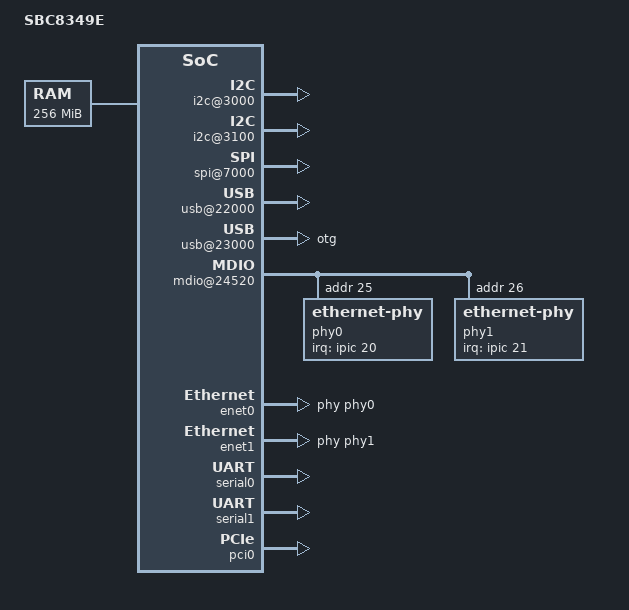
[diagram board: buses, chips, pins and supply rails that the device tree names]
/*
 * SBC8349E Device Tree Source
 *
 * Copyright 2007 Wind River Inc.
 *
 * Paul Gortmaker (see MAINTAINERS for contact information)
 *
 *	-based largely on the Freescale MPC834x_MDS dts.
 *
 * This program is free software; you can redistribute  it and/or modify it
 * under  the terms of  the GNU General  Public License as published by the
 * Free Software Foundation;  either version 2 of the  License, or (at your
 * option) any later version.
 */

/dts-v1/;

/ {
	model = "SBC8349E";
	compatible = "SBC834xE";
	#address-cells = <1>;
	#size-cells = <1>;

	aliases {
		ethernet0 = &enet0;
		ethernet1 = &enet1;
		serial0 = &serial0;
		serial1 = &serial1;
		pci0 = &pci0;
	};

	cpus {
		#address-cells = <1>;
		#size-cells = <0>;

		PowerPC,8349@0 {
			device_type = "cpu";
			reg = <0x0>;
			d-cache-line-size = <32>;
			i-cache-line-size = <32>;
			d-cache-size = <32768>;
			i-cache-size = <32768>;
			timebase-frequency = <0>;	// from bootloader
			bus-frequency = <0>;		// from bootloader
			clock-frequency = <0>;		// from bootloader
		};
	};

	memory {
		device_type = "memory";
		reg = <0x00000000 0x10000000>;	// 256MB at 0
	};

	soc8349@e0000000 {
		#address-cells = <1>;
		#size-cells = <1>;
		device_type = "soc";
		ranges = <0x0 0xe0000000 0x00100000>;
		reg = <0xe0000000 0x00000200>;
		bus-frequency = <0>;

		wdt@200 {
			compatible = "mpc83xx_wdt";
			reg = <0x200 0x100>;
		};

		i2c@3000 {
			#address-cells = <1>;
			#size-cells = <0>;
			cell-index = <0>;
			compatible = "fsl-i2c";
			reg = <0x3000 0x100>;
			interrupts = <14 0x8>;
			interrupt-parent = <&ipic>;
			dfsrr;
		};

		i2c@3100 {
			#address-cells = <1>;
			#size-cells = <0>;
			cell-index = <1>;
			compatible = "fsl-i2c";
			reg = <0x3100 0x100>;
			interrupts = <15 0x8>;
			interrupt-parent = <&ipic>;
			dfsrr;
		};

		spi@7000 {
			cell-index = <0>;
			compatible = "fsl,spi";
			reg = <0x7000 0x1000>;
			interrupts = <16 0x8>;
			interrupt-parent = <&ipic>;
			mode = "cpu";
		};

		/* phy type (ULPI or SERIAL) are only types supported for MPH */
		/* port = 0 or 1 */
		usb@22000 {
			compatible = "fsl-usb2-mph";
			reg = <0x22000 0x1000>;
			#address-cells = <1>;
			#size-cells = <0>;
			interrupt-parent = <&ipic>;
			interrupts = <39 0x8>;
			phy_type = "ulpi";
			port1;
		};
		/* phy type (ULPI, UTMI, UTMI_WIDE, SERIAL) */
		usb@23000 {
			device_type = "usb";
			compatible = "fsl-usb2-dr";
			reg = <0x23000 0x1000>;
			#address-cells = <1>;
			#size-cells = <0>;
			interrupt-parent = <&ipic>;
			interrupts = <38 0x8>;
			dr_mode = "otg";
			phy_type = "ulpi";
		};

		mdio@24520 {
			#address-cells = <1>;
			#size-cells = <0>;
			compatible = "fsl,gianfar-mdio";
			reg = <0x24520 0x20>;

			phy0: ethernet-phy@19 {
				interrupt-parent = <&ipic>;
				interrupts = <20 0x8>;
				reg = <0x19>;
				device_type = "ethernet-phy";
			};
			phy1: ethernet-phy@1a {
				interrupt-parent = <&ipic>;
				interrupts = <21 0x8>;
				reg = <0x1a>;
				device_type = "ethernet-phy";
			};
		};

		enet0: ethernet@24000 {
			cell-index = <0>;
			device_type = "network";
			model = "TSEC";
			compatible = "gianfar";
			reg = <0x24000 0x1000>;
			local-mac-address = [ 00 00 00 00 00 00 ];
			interrupts = <32 0x8 33 0x8 34 0x8>;
			interrupt-parent = <&ipic>;
			phy-handle = <&phy0>;
			linux,network-index = <0>;
		};

		enet1: ethernet@25000 {
			cell-index = <1>;
			device_type = "network";
			model = "TSEC";
			compatible = "gianfar";
			reg = <0x25000 0x1000>;
			local-mac-address = [ 00 00 00 00 00 00 ];
			interrupts = <35 0x8 36 0x8 37 0x8>;
			interrupt-parent = <&ipic>;
			phy-handle = <&phy1>;
			linux,network-index = <1>;
		};

		serial0: serial@4500 {
			cell-index = <0>;
			device_type = "serial";
			compatible = "ns16550";
			reg = <0x4500 0x100>;
			clock-frequency = <0>;
			interrupts = <9 0x8>;
			interrupt-parent = <&ipic>;
		};

		serial1: serial@4600 {
			cell-index = <1>;
			device_type = "serial";
			compatible = "ns16550";
			reg = <0x4600 0x100>;
			clock-frequency = <0>;
			interrupts = <10 0x8>;
			interrupt-parent = <&ipic>;
		};

		/* May need to remove if on a part without crypto engine */
		crypto@30000 {
			model = "SEC2";
			compatible = "talitos";
			reg = <0x30000 0x10000>;
			interrupts = <11 0x8>;
			interrupt-parent = <&ipic>;
			num-channels = <4>;
			channel-fifo-len = <24>;
			exec-units-mask = <0x0000007e>;
			/* desc mask is for rev2.0,
			 * we need runtime fixup for >2.0 */
			descriptor-types-mask = <0x01010ebf>;
		};

		/* IPIC
		 * interrupts cell = <intr #, sense>
		 * sense values match linux IORESOURCE_IRQ_* defines:
		 * sense == 8: Level, low assertion
		 * sense == 2: Edge, high-to-low change
		 */
		ipic: pic@700 {
			interrupt-controller;
			#address-cells = <0>;
			#interrupt-cells = <2>;
			reg = <0x700 0x100>;
			device_type = "ipic";
		};
	};

	pci0: pci@e0008500 {
		cell-index = <1>;
		interrupt-map-mask = <0xf800 0x0 0x0 0x7>;
		interrupt-map = <

				/* IDSEL 0x11 */
				 0x8800 0x0 0x0 0x1 &ipic 20 0x8
				 0x8800 0x0 0x0 0x2 &ipic 21 0x8
				 0x8800 0x0 0x0 0x3 &ipic 22 0x8
				 0x8800 0x0 0x0 0x4 &ipic 23 0x8>;

		interrupt-parent = <&ipic>;
		interrupts = <0x42 0x8>;
		bus-range = <0 0>;
		ranges = <0x02000000 0x0 0x90000000 0x90000000 0x0 0x10000000
			  0x42000000 0x0 0x80000000 0x80000000 0x0 0x10000000
			  0x01000000 0x0 0x00000000 0xe2000000 0x0 0x00100000>;
		clock-frequency = <66666666>;
		#interrupt-cells = <1>;
		#size-cells = <2>;
		#address-cells = <3>;
		reg = <0xe0008500 0x100>;
		compatible = "fsl,mpc8349-pci";
		device_type = "pci";
	};
};
